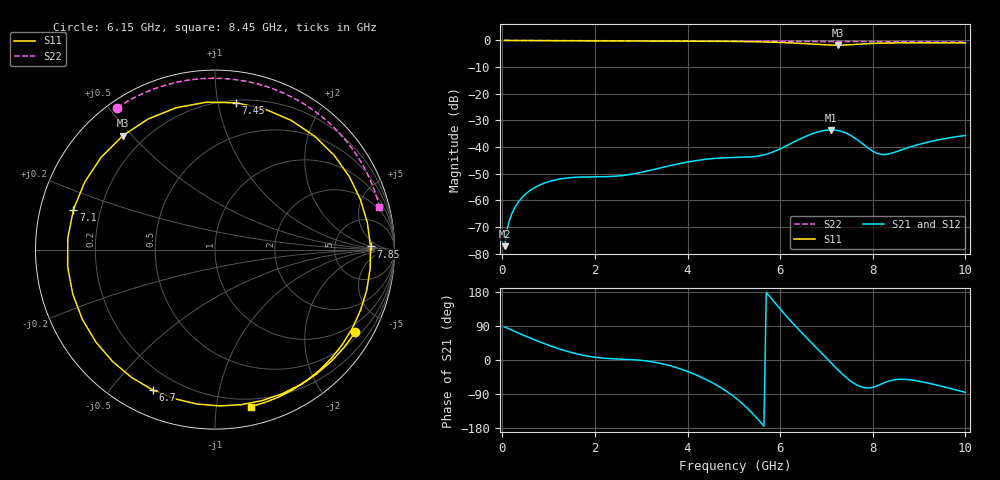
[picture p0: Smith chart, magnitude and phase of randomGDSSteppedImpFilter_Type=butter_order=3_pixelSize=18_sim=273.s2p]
! freq	dB(S11)	phase(S11)	dB(S12)	phase(S12)
!  dB(S21)	phase(S21)	dB(S22)	phase(S22)
!S-par simulation data
#  GHz  S  DB  R 50
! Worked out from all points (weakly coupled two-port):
!   200 points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, 50 MHz to 10 GHz, reference 50 ohm
!   highest |S21| = -33.54 dB at 7.1 GHz (marker M1); lowest = -77.1 dB at 50 MHz (marker M2)
!   lowest |S11| = -1.8 dB at 7.25 GHz (marker M3), VSWR 9.90, Z = 6.18 + j23.5 ohm
!   |S11| at or under -10 dB: nowhere
!   |S22| runs from -0.6 to 0.0 dB; largest |S21 - S12| = 0
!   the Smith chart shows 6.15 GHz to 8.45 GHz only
!   S11 on the Smith chart (normalised r, x): 6.15 GHz: 0.68, -3.54; 6.7 GHz: 0.11, -0.64; 7.1 GHz: 0.10, +0.14; 7.45 GHz: 0.22, +1.13; 7.85 GHz: 14, +2; 8.45 GHz: 0.14, -1.25
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0.05  -0.00 -3.5  -77.14 87.3  -77.14 87.3  -0.00 -2.0
0.2  -0.02 -13.9  -65.22 79.1  -65.22 79.1  -0.01 -8.0
0.5  -0.04 -34.4  -57.66 63.2  -57.66 63.2  -0.03 -19.9
1.1  -0.09 -72.9  -52.48 34.6  -52.48 34.6  -0.06 -43.3
1.75  -0.12 -109.8  -51.20 12.4  -51.20 12.4  -0.09 -68.1
2.6  -0.15 -152.2  -50.65 2.1  -50.65 2.1  -0.13 -99.4
3.4  -0.19 170.3  -47.84 -8.5  -47.84 -8.5  -0.16 -128.3
4.2  -0.25 130.1  -45.02 -40.1  -45.02 -40.1  -0.21 -157.3
5.05  -0.38 76.7  -43.86 -101.3  -43.86 -101.3  -0.27 170.5
5.7  -0.59 20.7  -42.68 178.3  -42.68 178.3  -0.32 144.1
6.15  -0.85 -30.6  -39.37 113.5  -39.37 113.5  -0.35 124.6
6.45  -1.10 -72.6  -36.76 73.9  -36.76 73.9  -0.38 111.0
6.7  -1.35 -114.0  -34.94 42.5  -34.94 42.5  -0.39 99.4
7.1  -1.73 164.2  -33.54 -7.6  -33.54 -7.6  -0.41 80.3
7.25  -1.76 129.0  -33.78 -26.1  -33.78 -26.1  -0.42 73.1
7.45  -1.66 81.8  -34.94 -48.5  -34.94 -48.5  -0.43 63.3
7.65  -1.45 38.3  -37.03 -65.5  -37.03 -65.5  -0.44 53.5
7.85  -1.24 1.1  -39.67 -73.5  -39.67 -73.5  -0.45 43.6
8.35  -0.97 -66.6  -42.53 -55.5  -42.53 -55.5  -0.47 19.4
8.45  -0.94 -77.0  -42.05 -52.6  -42.05 -52.6  -0.48 14.7
9.2  -0.89 -137.5  -38.08 -61.0  -38.08 -61.0  -0.53 -19.5
10  -0.91 174.9  -35.62 -85.5  -35.62 -85.5  -0.64 -52.7
